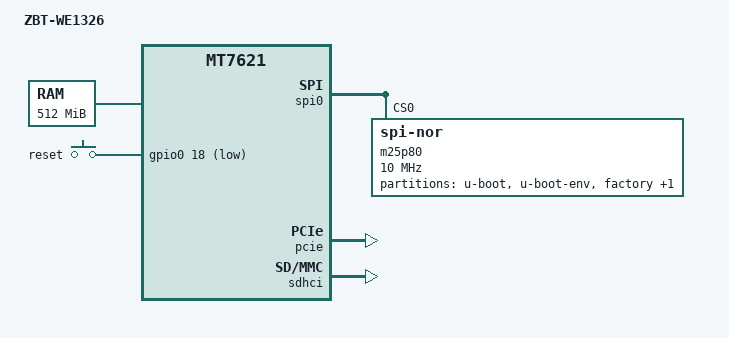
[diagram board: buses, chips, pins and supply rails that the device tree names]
/dts-v1/;

#include "mt7621.dtsi"

#include <dt-bindings/gpio/gpio.h>
#include <dt-bindings/input/input.h>

/ {
	compatible = "zbtlink,zbt-we1326", "mediatek,mt7621-soc";
	model = "ZBT-WE1326";

	chosen {
		bootargs = "console=ttyS0,115200";
	};

	memory@0 {
		device_type = "memory";
		reg = <0x0 0x1c000000>, <0x20000000 0x4000000>;
	};

	gpio-keys-polled {
		compatible = "gpio-keys-polled";
		#address-cells = <1>;
		#size-cells = <0>;
		poll-interval = <20>;

		reset {
			label = "reset";
			gpios = <&gpio0 18 GPIO_ACTIVE_LOW>;
			linux,code = <KEY_RESTART>;
		};
	};
};

&pinctrl {
	state_default: pinctrl0 {
		gpio {
			ralink,group = "wdt";
			ralink,function = "gpio";
		};
	};
};

&spi0 {
	status = "okay";

	m25p80@0 {
		#address-cells = <1>;
		#size-cells = <1>;
		compatible = "jedec,spi-nor";
		reg = <0>;
		spi-max-frequency = <10000000>;
		m25p,chunked-io = <32>;

		partition@0 {
			label = "u-boot";
			reg = <0x0 0x30000>;
			read-only;
		};

		partition@30000 {
			label = "u-boot-env";
			reg = <0x30000 0x10000>;
			read-only;
		};

		factory: partition@40000 {
			label = "factory";
			reg = <0x40000 0x10000>;
			read-only;
		};

		partition@50000 {
			label = "firmware";
			reg = <0x50000 0xfb0000>;
		};
	};
};

&ethernet {
	mtd-mac-address = <&factory 0xe000>;
};

&pcie {
	status = "okay";

	pcie0 {
		mt76@0,0 {
			reg = <0x0000 0 0 0 0>;
			device_type = "pci";
			mediatek,mtd-eeprom = <&factory 0x8000>;
			ieee80211-freq-limit = <5000000 6000000>;
		};
	};

	pcie1 {
		mt76@1,0 {
			reg = <0x0000 0 0 0 0>;
			device_type = "pci";
			mediatek,mtd-eeprom = <&factory 0x0000>;
			ieee80211-freq-limit = <2400000 2500000>;
		};
	};
};

&sdhci {
	status = "okay";
};
